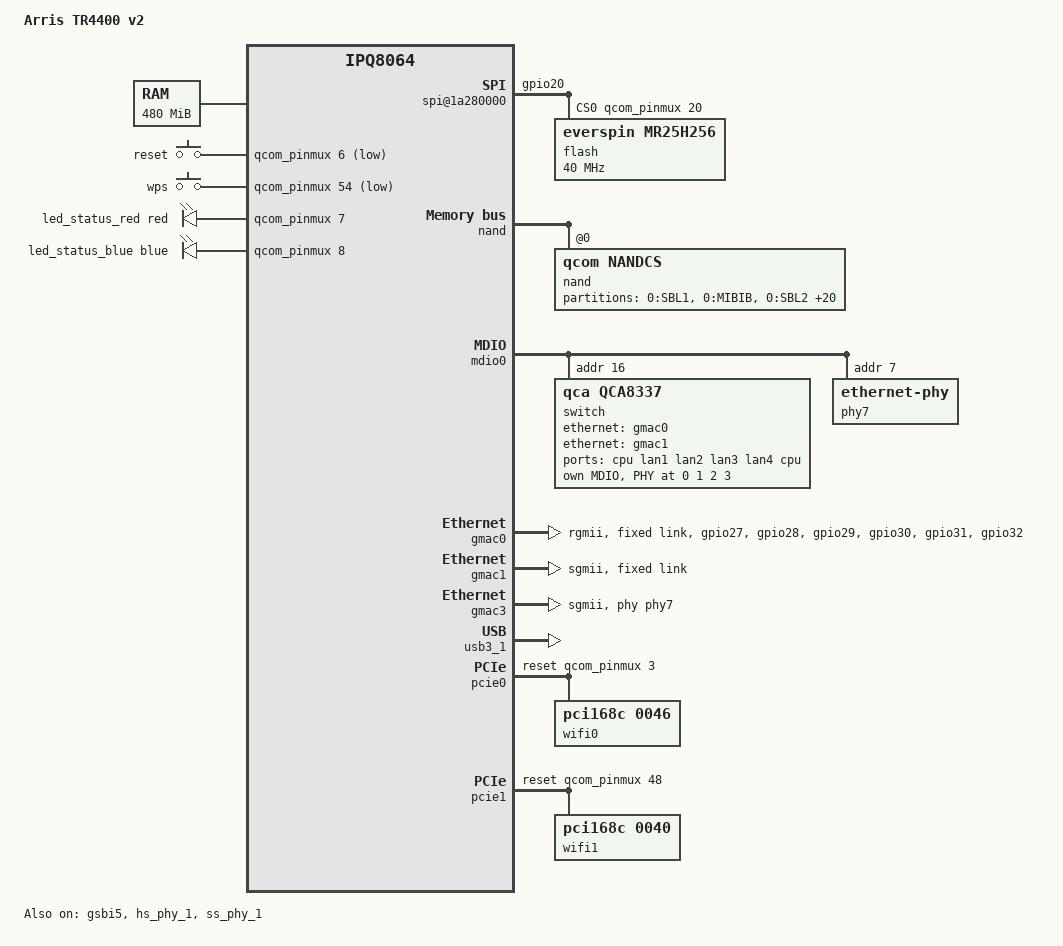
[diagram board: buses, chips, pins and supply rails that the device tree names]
// SPDX-License-Identifier: GPL-2.0-or-later

#include "qcom-ipq8065-smb208.dtsi"
#include <dt-bindings/input/input.h>
#include <dt-bindings/leds/common.h>

/ {
	model = "Arris TR4400 v2";
	compatible = "arris,tr4400-v2", "qcom,ipq8065", "qcom,ipq8064";

	memory@0 {
		reg = <0x42000000 0x1e000000>;
		device_type = "memory";
	};

	aliases {
		led-boot = &led_status_blue;
		led-failsafe = &led_status_red;
		led-running = &led_status_blue;
		led-upgrade = &led_status_red;
	};

	chosen {
		bootargs = "rootfstype=squashfs noinitrd";
	};

	keys {
		compatible = "gpio-keys";
		pinctrl-0 = <&button_pins>;
		pinctrl-names = "default";

		reset {
			label = "reset";
			gpios = <&qcom_pinmux 6 GPIO_ACTIVE_LOW>;
			linux,code = <KEY_RESTART>;
			debounce-interval = <60>;
			wakeup-source;
		};

		wps {
			label = "wps";
			gpios = <&qcom_pinmux 54 GPIO_ACTIVE_LOW>;
			linux,code = <KEY_WPS_BUTTON>;
			debounce-interval = <60>;
			wakeup-source;
		};
	};

	leds {
		compatible = "gpio-leds";
		pinctrl-0 = <&led_pins>;
		pinctrl-names = "default";

		led_status_red: status_red {
			function = LED_FUNCTION_STATUS;
			color = <LED_COLOR_ID_RED>;
			gpios = <&qcom_pinmux 7 GPIO_ACTIVE_HIGH>;
		};

		led_status_blue: status_blue {
			function = LED_FUNCTION_STATUS;
			color = <LED_COLOR_ID_BLUE>;
			gpios = <&qcom_pinmux 8 GPIO_ACTIVE_HIGH>;
		};
	};
};

&qcom_pinmux {
	button_pins: button_pins {
		mux {
			pins = "gpio6", "gpio54";
			function = "gpio";
			drive-strength = <2>;
			bias-pull-up;
		};
	};

	led_pins: led_pins {
		mux {
			pins = "gpio7", "gpio8";
			function = "gpio";
			drive-strength = <2>;
			bias-pull-down;
		};
	};

	rgmii2_pins: rgmii2-pins {
		tx {
			pins = "gpio27", "gpio28", "gpio29", "gpio30", "gpio31", "gpio32";
			input-disable;
		};
	};

	spi_pins: spi_pins {
		cs {
			pins = "gpio20";
			drive-strength = <12>;
		};
	};
};

&gsbi5 {
	qcom,mode = <GSBI_PROT_SPI>;
	status = "okay";

	spi@1a280000 {
		status = "okay";

		pinctrl-0 = <&spi_pins>;
		pinctrl-names = "default";

		cs-gpios = <&qcom_pinmux 20 GPIO_ACTIVE_HIGH>;

		flash@0 {
			compatible = "everspin,mr25h256";
			spi-max-frequency = <40000000>;
			reg = <0>;
		};
	};
};

&nand {
	status = "okay";

	nand@0 {
		reg = <0>;
		compatible = "qcom,nandcs";

		nand-ecc-strength = <4>;
		nand-bus-width = <8>;
		nand-ecc-step-size = <512>;

		qcom,boot-partitions = <0x0 0x1180000 0x5340000 0x10c0000>;

		partitions {
			compatible = "fixed-partitions";
			#address-cells = <1>;
			#size-cells = <1>;

			partition@0 {
				label = "0:SBL1";
				reg = <0x0000000 0x0040000>;
				read-only;
			};
			partition@40000 {
				label = "0:MIBIB";
				reg = <0x0040000 0x0140000>;
				read-only;
			};
			partition@180000 {
				label = "0:SBL2";
				reg = <0x0180000 0x0140000>;
				read-only;
			};
			partition@2c0000 {
				label = "0:SBL3";
				reg = <0x02c0000 0x0280000>;
				read-only;
			};
			partition@540000 {
				label = "0:DDRCONFIG";
				reg = <0x0540000 0x0120000>;
				read-only;
			};
			partition@660000 {
				label = "0:SSD";
				reg = <0x0660000 0x0120000>;
				read-only;
			};
			partition@780000 {
				label = "0:TZ";
				reg = <0x0780000 0x0280000>;
				read-only;
			};
			partition@a00000 {
				label = "0:RPM";
				reg = <0x0a00000 0x0280000>;
				read-only;
			};
			partition@c80000 {
				label = "0:APPSBL";
				reg = <0x0c80000 0x0500000>;
				read-only;
			};
			partition@1180000 {
				label = "0:APPSBLENV";
				reg = <0x1180000 0x0080000>;
			};
			partition@1200000 {
				label = "0:ART";
				reg = <0x1200000 0x0140000>;
				read-only;

				nvmem-layout {
					compatible = "fixed-layout";
					#address-cells = <1>;
					#size-cells = <1>;

					precal_ART_1000: precal@1000 {
						reg = <0x1000 0x2f20>;
					};
					precal_ART_5000: precal@5000 {
						reg = <0x5000 0x2f20>;
					};
				};
			};
			partition@1340000 {
				label = "extra";
				reg = <0x1340000 0x4000000>;
			};
			partition@5340000 {
				label = "0:BOOTCONFIG";
				reg = <0x5340000 0x0060000>;
				read-only;
			};
			partition@53a0000 {
				label = "0:SBL2_1";
				reg = <0x53a0000 0x0140000>;
				read-only;
			};
			partition@54e0000 {
				label = "0:SBL3_1";
				reg = <0x54e0000 0x0280000>;
				read-only;
			};
			partition@5760000 {
				label = "0:DDRCONFIG_1";
				reg = <0x5760000 0x0120000>;
				read-only;
			};
			partition@5880000 {
				label = "0:SSD_1";
				reg = <0x5880000 0x0120000>;
				read-only;
			};
			partition@59a0000 {
				label = "0:TZ_1";
				reg = <0x59a0000 0x0280000>;
				read-only;
			};
			partition@5c20000 {
				label = "0:RPM_1";
				reg = <0x5c20000 0x0280000>;
				read-only;
			};
			partition@5ea0000 {
				label = "0:BOOTCONFIG1";
				reg = <0x5ea0000 0x0060000>;
				read-only;
			};
			partition@5f00000 {
				label = "0:APPSBL_1";
				reg = <0x5f00000 0x0500000>;
				read-only;
			};
			partition@6400000 {
				label = "fw_env";
				reg = <0x6400000 0x0100000>;
				read-only;

				nvmem-layout {
					compatible = "fixed-layout";
					#address-cells = <1>;
					#size-cells = <1>;

					macaddr_fw_env_0: macaddr@0 {
						reg = <0x00 0x6>;
					};
					macaddr_fw_env_6: macaddr@6 {
						reg = <0x06 0x6>;
					};
					macaddr_fw_env_c: macaddr@c {
						reg = <0x0c 0x6>;
					};
					macaddr_fw_env_12: macaddr@12 {
						reg = <0x12 0x6>;
					};
					macaddr_fw_env_18: macaddr@18 {
						reg = <0x18 0x6>;
					};
				};
			};
			partition@6500000 {
				label = "ubi";
				reg = <0x6500000 0x9b00000>;
			};
		};
	};
};

&mdio0 {
	status = "okay";

	pinctrl-0 = <&mdio0_pins>;
	pinctrl-names = "default";

	switch@10 {
		compatible = "qca,qca8337";
		#address-cells = <1>;
		#size-cells = <0>;
		reg = <0x10>;

		ports {
			#address-cells = <1>;
			#size-cells = <0>;

			port@0 {
				reg = <0>;
				label = "cpu";
				ethernet = <&gmac0>;
				phy-mode = "rgmii";
				tx-internal-delay-ps = <1000>;
				rx-internal-delay-ps = <1000>;

				fixed-link {
					speed = <1000>;
					full-duplex;
				};
			};

			port@1 {
				reg = <1>;
				label = "lan1";
				phy-mode = "internal";
				phy-handle = <&phy_port1>;
			};

			port@2 {
				reg = <2>;
				label = "lan2";
				phy-mode = "internal";
				phy-handle = <&phy_port2>;
			};

			port@3 {
				reg = <3>;
				label = "lan3";
				phy-mode = "internal";
				phy-handle = <&phy_port3>;
			};

			port@4 {
				reg = <4>;
				label = "lan4";
				phy-mode = "internal";
				phy-handle = <&phy_port4>;
			};

			port@6 {
				reg = <6>;
				label = "cpu";
				ethernet = <&gmac1>;
				phy-mode = "sgmii";
				qca,sgmii-enable-pll;

				fixed-link {
					speed = <1000>;
					full-duplex;
				};
			};
		};

		mdio {
			#address-cells = <1>;
			#size-cells = <0>;

			phy_port1: phy@0 {
				reg = <0>;
			};

			phy_port2: phy@1 {
				reg = <1>;
			};

			phy_port3: phy@2 {
				reg = <2>;
			};

			phy_port4: phy@3 {
				reg = <3>;
			};
		};
	};

	phy7: ethernet-phy@7 {
		reg = <7>;
	};
};

&gmac0 {
	status = "okay";
	phy-mode = "rgmii";
	qcom,id = <0>;

	nvmem-cells = <&macaddr_fw_env_18>;
	nvmem-cell-names = "mac-address";

	pinctrl-0 = <&rgmii2_pins>;
	pinctrl-names = "default";

	fixed-link {
		speed = <1000>;
		full-duplex;
	};
};

&gmac1 {
	status = "okay";
	phy-mode = "sgmii";
	qcom,id = <1>;

	nvmem-cells = <&macaddr_fw_env_0>;
	nvmem-cell-names = "mac-address";

	fixed-link {
		speed = <1000>;
		full-duplex;
	};
};

&gmac3 {
	status = "okay";
	phy-mode = "sgmii";
	qcom,id = <3>;
	phy-handle = <&phy7>;

	nvmem-cells = <&macaddr_fw_env_6>;
	nvmem-cell-names = "mac-address";
};

&adm_dma {
	status = "okay";
};

&hs_phy_1 {
	status = "okay";
};

&ss_phy_1 {
	status = "okay";
};

&usb3_1 {
	status = "okay";
};

&pcie0 {
	status = "okay";
	reset-gpios = <&qcom_pinmux 3 GPIO_ACTIVE_HIGH>;
	pinctrl-0 = <&pcie0_pins>;
	pinctrl-names = "default";

	bridge@0,0 {
		reg = <0x00000000 0 0 0 0>;
		#address-cells = <3>;
		#size-cells = <2>;
		ranges;

		wifi0: wifi@1,0 {
			compatible = "pci168c,0046";
			reg = <0x00010000 0 0 0 0>;

			nvmem-cells = <&precal_ART_1000>, <&macaddr_fw_env_12>;
			nvmem-cell-names = "pre-calibration", "mac-address";
		};
	};
};

&pcie1 {
	status = "okay";
	reset-gpios = <&qcom_pinmux 48 GPIO_ACTIVE_HIGH>;
	pinctrl-0 = <&pcie1_pins>;
	pinctrl-names = "default";
	max-link-speed = <1>;

	bridge@0,0 {
		reg = <0x00000000 0 0 0 0>;
		#address-cells = <3>;
		#size-cells = <2>;
		ranges;

		wifi1: wifi@1,0 {
			compatible = "pci168c,0040";
			reg = <0x00010000 0 0 0 0>;

			nvmem-cells = <&precal_ART_5000>, <&macaddr_fw_env_c>;
			nvmem-cell-names = "pre-calibration", "mac-address";
		};
	};
};
